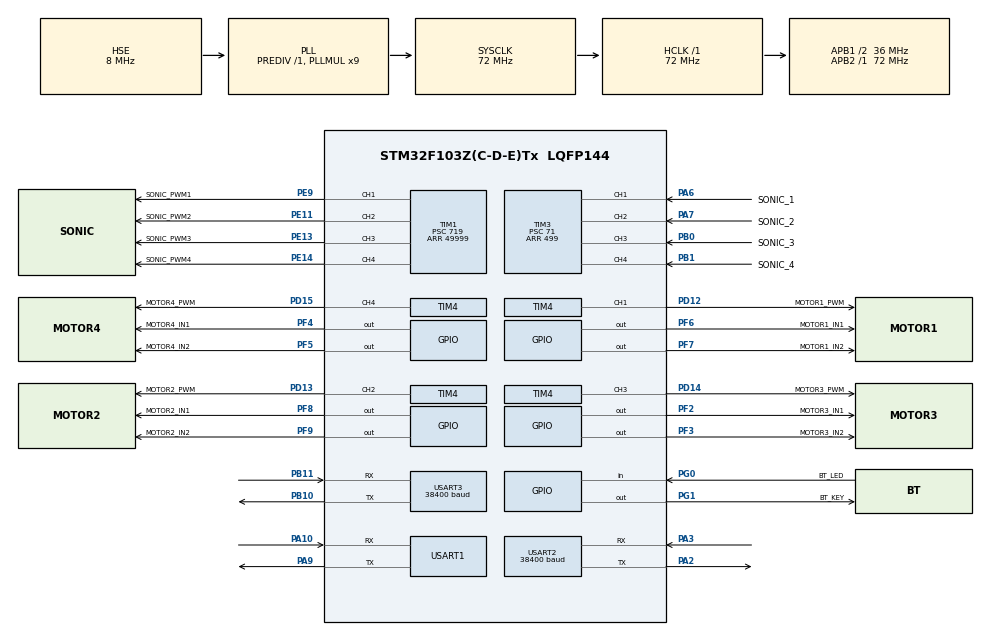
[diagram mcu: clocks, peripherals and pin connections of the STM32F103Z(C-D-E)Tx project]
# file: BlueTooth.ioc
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Mcu.Family=STM32F1
NVIC.USART3_IRQn=true\:2\:0\:true\:false\:true\:true\:true
PF5.GPIO_PuPd=GPIO_PULLUP
PD12.GPIO_Label=MOTOR1_PWM
PF6.GPIO_ModeDefaultOutputPP=GPIO_MODE_OUTPUT_PP
SH.S_TIM1_CH4.0=TIM1_CH4,PWM Generation4 CH4
PB10.Mode=Asynchronous
PE11.GPIO_Label=SONIC_PWM2
PF4.GPIO_PuPd=GPIO_PULLUP
PG0.Signal=GPIO_Input
PF9.GPIO_Speed=GPIO_SPEED_FREQ_MEDIUM
PA6.GPIO_Label=SONIC_1
PB0.GPIO_Label=SONIC_3
PB11.GPIO_PuPd=GPIO_NOPULL
PB11.Signal=USART3_RX
PF8.PinState=GPIO_PIN_SET
PF2.GPIO_Speed=GPIO_SPEED_FREQ_MEDIUM
PF6.GPIO_Label=MOTOR1_IN1
RCC.SYSCLKSource=RCC_SYSCLKSOURCE_PLLCLK
ProjectManager.StackSize=0x400
PD13.Signal=S_TIM4_CH2
TIM3.Channel-Input_Capture3_from_TI3=TIM_CHANNEL_3
PF3.GPIO_ModeDefaultOutputPP=GPIO_MODE_OUTPUT_PP
TIM1.Prescaler=719
USART3.BaudRate=38400
PF6.PinState=GPIO_PIN_SET
PF7.Signal=GPIO_Output
TIM1.Channel-PWM\ Generation4\ CH4=TIM_CHANNEL_4
PB1.GPIO_PuPd=GPIO_PULLDOWN
RCC.HCLKFreq_Value=72000000
RCC.APB2TimFreq_Value=72000000
TIM3.Period=499
PF2.GPIO_PuPd=GPIO_PULLUP
OSC_OUT.Mode=HSE-External-Oscillator
OSC_OUT.Signal=RCC_OSC_OUT
RCC.AHBFreq_Value=72000000
TIM3.Channel-Input_Capture1_from_TI1=TIM_CHANNEL_1
TIM4.Channel-PWM\ Generation3\ CH3=TIM_CHANNEL_3
RCC.PLLMUL=RCC_PLL_MUL9
PA6.GPIO_PuPd=GPIO_PULLDOWN
PE13.Signal=S_TIM1_CH3
PF7.GPIO_Speed=GPIO_SPEED_FREQ_MEDIUM
PF7.GPIO_Label=MOTOR1_IN2
PF8.GPIO_ModeDefaultOutputPP=GPIO_MODE_OUTPUT_PP
TIM1.Channel-PWM\ Generation1\ CH1=TIM_CHANNEL_1
PF8.GPIO_PuPd=GPIO_PULLUP
PE9.Signal=S_TIM1_CH1
PA14.Mode=Serial_Wire
TIM3.Prescaler=71
PB1.GPIO_Label=SONIC_4
SH.S_TIM4_CH2.0=TIM4_CH2,PWM Generation2 CH2
SH.S_TIM3_CH1.0=TIM3_CH1,Input_Capture1_from_TI1
TIM4.Period=499
PF3.Signal=GPIO_Output
PG0.GPIO_PuPd=GPIO_PULLUP
VP_TIM1_VS_ClockSourceINT.Mode=Internal
PF4.GPIO_ModeDefaultOutputPP=GPIO_MODE_OUTPUT_PP
PD13.GPIO_Label=MOTOR2_PWM
Mcu.Package=LQFP144
PB1.Signal=S_TIM3_CH4
PA6.Signal=S_TIM3_CH1
USART2.VirtualMode=VM_ASYNC
PD12.Signal=S_TIM4_CH1
PG1.GPIO_PuPd=GPIO_PULLUP
PF3.GPIO_Speed=GPIO_SPEED_FREQ_MEDIUM
PF5.GPIO_Label=MOTOR4_IN2
PF3.GPIO_PuPd=GPIO_PULLUP
PA10.Signal=USART1_RX
PF8.Signal=GPIO_Output
PG0.GPIO_Label=BT_LED
PF5.Signal=GPIO_Output
SH.S_TIM4_CH1.0=TIM4_CH1,PWM Generation1 CH1
PF5.GPIO_Speed=GPIO_SPEED_FREQ_MEDIUM
RCC.APB1TimFreq_Value=72000000
PG1.PinState=GPIO_PIN_SET
TIM1.Period=49999
PF9.GPIO_PuPd=GPIO_PULLUP
TIM4.Channel-PWM\ Generation4\ CH4=TIM_CHANNEL_4
PF3.GPIO_Label=MOTOR3_IN2
PD15.Signal=S_TIM4_CH4
VP_TIM3_VS_ClockSourceINT.Mode=Internal
PA3.Signal=USART2_RX
PF5.PinState=GPIO_PIN_SET
PF7.PinState=GPIO_PIN_SET
RCC.PLLSourceVirtual=RCC_PLLSOURCE_HSE
TIM4.Channel-PWM\ Generation1\ CH1=TIM_CHANNEL_1
PF2.GPIO_ModeDefaultOutputPP=GPIO_MODE_OUTPUT_PP
PD15.GPIO_Label=MOTOR4_PWM
TIM3.Channel-Input_Capture2_from_TI2=TIM_CHANNEL_2
PA10.Mode=Asynchronous
PG1.Signal=GPIO_Output
SH.S_TIM4_CH4.0=TIM4_CH4,PWM Generation4 CH4
PE14.GPIO_Label=SONIC_PWM4
RCC.APB1CLKDivider=RCC_HCLK_DIV2
PF2.PinState=GPIO_PIN_SET
SH.S_TIM3_CH3.0=TIM3_CH3,Input_Capture3_from_TI3
NVIC.USART2_IRQn=true\:2\:1\:true\:false\:true\:true\:true
USART2.BaudRate=38400
PF8.GPIO_Label=MOTOR2_IN1
PA3.Mode=Asynchronous
PA13.Signal=SYS_JTMS-SWDIO
PA9.Mode=Asynchronous
SH.S_TIM1_CH1.0=TIM1_CH1,PWM Generation1 CH1
PF6.Signal=GPIO_Output
PB11.Mode=Asynchronous
ProjectManager.TargetToolchain=SW4STM32
PF9.PinState=GPIO_PIN_SET
SH.S_TIM4_CH3.0=TIM4_CH3,PWM Generation3 CH3
PA9.Signal=USART1_TX
TIM1.Channel-PWM\ Generation2\ CH2=TIM_CHANNEL_2
PF2.Signal=GPIO_Output
OSC_IN.Signal=RCC_OSC_IN
PG1.GPIO_ModeDefaultOutputPP=GPIO_MODE_OUTPUT_PP
RCC.USBFreq_Value=72000000
PF9.GPIO_Label=MOTOR2_IN2
TIM4.Prescaler=71
PE11.Signal=S_TIM1_CH2
PE9.GPIO_Label=SONIC_PWM1
PA7.GPIO_PuPd=GPIO_PULLDOWN
PB10.Signal=USART3_TX
SH.S_TIM3_CH2.0=TIM3_CH2,Input_Capture2_from_TI2
board=custom
PF4.PinState=GPIO_PIN_SET
PG1.GPIO_Label=BT_KEY
NVIC.TIM3_IRQn=true\:0\:0\:false\:false\:true\:true\:true
TIM4.Channel-PWM\ Generation2\ CH2=TIM_CHANNEL_2
RCC.APB2Freq_Value=72000000
PE14.Signal=S_TIM1_CH4
PF4.GPIO_Speed=GPIO_SPEED_FREQ_MEDIUM
SH.S_TIM1_CH2.0=TIM1_CH2,PWM Generation2 CH2
PF4.GPIO_Label=MOTOR4_IN1
PD14.GPIO_Label=MOTOR3_PWM
TIM3.Channel-Input_Capture4_from_TI4=TIM_CHANNEL_4
PA13.Mode=Serial_Wire
Mcu.Name=STM32F103Z(C-D-E)Tx
PF3.PinState=GPIO_PIN_SET
PG1.GPIO_Speed=GPIO_SPEED_FREQ_HIGH
PA2.Signal=USART2_TX
PF7.GPIO_PuPd=GPIO_PULLUP
PD14.Signal=S_TIM4_CH3
RCC.SYSCLKFreq_VALUE=72000000
PA7.GPIO_Label=SONIC_2
PE13.GPIO_Label=SONIC_PWM3
PF5.GPIO_ModeDefaultOutputPP=GPIO_MODE_OUTPUT_PP
OSC_IN.Mode=HSE-External-Oscillator
USART3.VirtualMode=VM_ASYNC
USART1.VirtualMode=VM_ASYNC
PF7.GPIO_ModeDefaultOutputPP=GPIO_MODE_OUTPUT_PP
PA14.Signal=SYS_JTCK-SWCLK
ProjectManager.HeapSize=0x200
SH.S_TIM1_CH3.0=TIM1_CH3,PWM Generation3 CH3
PF9.Signal=GPIO_Output
VP_TIM4_VS_ClockSourceINT.Mode=Internal
PF9.GPIO_ModeDefaultOutputPP=GPIO_MODE_OUTPUT_PP
NVIC.PriorityGroup=NVIC_PRIORITYGROUP_2
PF8.GPIO_Speed=GPIO_SPEED_FREQ_MEDIUM
PF6.GPIO_PuPd=GPIO_PULLUP
PA2.Mode=Asynchronous
PF4.Signal=GPIO_Output
TIM1.Channel-PWM\ Generation3\ CH3=TIM_CHANNEL_3
RCC.APB1Freq_Value=36000000
PB0.Signal=S_TIM3_CH3
PB0.GPIO_PuPd=GPIO_PULLDOWN
SH.S_TIM3_CH4.0=TIM3_CH4,Input_Capture4_from_TI4
PF6.GPIO_Speed=GPIO_SPEED_FREQ_MEDIUM
PA7.Signal=S_TIM3_CH2
PF2.GPIO_Label=MOTOR3_IN1

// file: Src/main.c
/* USER CODE BEGIN Header */
/**
  ******************************************************************************
  * @file           : main.c
  * @brief          : Main program body
  ******************************************************************************
  * @attention
  *
  * <h2><center>&copy; Copyright (c) 2020 STMicroelectronics.
  * All rights reserved.</center></h2>
  *
  * This software component is licensed by ST under BSD 3-Clause license,
  * the "License"; You may not use this file except in compliance with the
  * License. You may obtain a copy of the License at:
  *                        opensource.org/licenses/BSD-3-Clause
  *
  ******************************************************************************
  */
/* USER CODE END Header */

#include "main.h"

/* USER CODE BEGIN Includes */
#include <stdarg.h>
#include <stdio.h>
#include <unistd.h>
/* USER CODE END Includes */

#pragma clang diagnostic push
#pragma ide diagnostic ignored "EndlessLoop"
/* USER CODE BEGIN PTD */
uint8_t USART3_RECEIVE_BUFFER[50];
uint8_t USART3_RECEIVE_BUFFER_SIZE = 45;

uint8_t USART2_RECEIVE_BUFFER[50];
uint8_t USART2_RECEIVE_BUFFER_SIZE = 1;

uint8_t capture_state_ch1 = 0;
uint16_t start_val_ch1 = 0;
uint16_t end_val_ch1 = 0;
uint16_t cnt_ch1 = 0;

uint8_t capture_state_ch2 = 0;
uint16_t start_val_ch2 = 0;
uint16_t end_val_ch2 = 0;
uint16_t cnt_ch2 = 0;

uint8_t capture_state_ch3 = 0;
uint16_t start_val_ch3 = 0;
uint16_t end_val_ch3 = 0;
uint16_t cnt_ch3 = 0;

uint8_t capture_state_ch4 = 0;
uint16_t start_val_ch4 = 0;
uint16_t end_val_ch4 = 0;
uint16_t cnt_ch4 = 0;

uint32_t distance_ch1 = 0;
uint32_t distance_ch2 = 0;
uint32_t distance_ch3 = 0;
uint32_t distance_ch4 = 0;

/* USER CODE END PTD */

TIM_HandleTypeDef htim1;
TIM_HandleTypeDef htim3;
TIM_HandleTypeDef htim4;

UART_HandleTypeDef huart1;
UART_HandleTypeDef huart2;
UART_HandleTypeDef huart3;

/* USER CODE BEGIN PV */
#define BUFSIZE 512
char myprintf_buf[BUFSIZE];
char ustart2_printf_buf[BUFSIZE];
char ustart3_printf_buf[BUFSIZE];

void Debug_printf(const char *fmt, ...) {
    va_list args;
    int n;
    va_start(args, fmt);
    n = vsnprintf(myprintf_buf, BUFSIZE, fmt, args);
    va_end(args);
    int i = 0;
    for (i = 0; i < n; i++) {
        HAL_UART_Transmit(&huart1, (uint8_t *) &myprintf_buf[i], 1, 0xFFFF);
    }
}

void u2_printf(const char *fmt, ...) {
    va_list args;
    int n;
    va_start(args, fmt);
    n = vsnprintf(ustart2_printf_buf, BUFSIZE, fmt, args);
    va_end(args);
    int i = 0;
    for (i = 0; i < n; i++) {
        HAL_UART_Transmit(&huart2, (uint8_t *) &ustart2_printf_buf[i], 1, 0xFFFF);
    }
}

void u3_printf(const char *fmt, ...) {
    va_list args;
    int n;
    va_start(args, fmt);
    n = vsnprintf(ustart3_printf_buf, BUFSIZE, fmt, args);
    va_end(args);
    int i = 0;
    for (i = 0; i < n; i++) {
        HAL_UART_Transmit(&huart3, (uint8_t *) &ustart3_printf_buf[i], 1, 0xFFFF);
    }
}
/* USER CODE END PV */

void SystemClock_Config(void);

static void MX_GPIO_Init(void);

static void MX_TIM3_Init(void);

static void MX_USART1_UART_Init(void);

static void MX_USART2_UART_Init(void);

static void MX_USART3_UART_Init(void);

static void MX_TIM1_Init(void);

static void MX_TIM4_Init(void);

/* USER CODE BEGIN 0 */

void initMotor();

void controlMotor();

void initMotor() {
    HAL_TIM_PWM_Start(&htim4, TIM_CHANNEL_1);
    __HAL_TIM_SET_COMPARE(&htim4, TIM_CHANNEL_1, 0);//speed = 0
    HAL_TIM_PWM_Start(&htim4, TIM_CHANNEL_2);
    __HAL_TIM_SET_COMPARE(&htim4, TIM_CHANNEL_2, 0);
    HAL_TIM_PWM_Start(&htim4, TIM_CHANNEL_3);
    __HAL_TIM_SET_COMPARE(&htim4, TIM_CHANNEL_3, 0);
    HAL_TIM_PWM_Start(&htim4, TIM_CHANNEL_4);
    __HAL_TIM_SET_COMPARE(&htim4, TIM_CHANNEL_4, 0);

    //set the motor init state
    HAL_GPIO_WritePin(GPIOF, MOTOR3_IN1_Pin | MOTOR4_IN1_Pin | MOTOR1_IN1_Pin | MOTOR2_IN1_Pin, GPIO_PIN_SET);
    HAL_GPIO_WritePin(GPIOF, MOTOR3_IN2_Pin | MOTOR4_IN2_Pin | MOTOR1_IN2_Pin | MOTOR2_IN2_Pin, GPIO_PIN_RESET);
}

void controlMotor() {
    uint32_t avg = (distance_ch2 + distance_ch1) / 2;

    if ((distance_ch3 + 5) < avg) {
        HAL_GPIO_WritePin(GPIOF, MOTOR3_IN2_Pin | MOTOR4_IN1_Pin | MOTOR1_IN2_Pin | MOTOR2_IN1_Pin, GPIO_PIN_SET);
        HAL_GPIO_WritePin(GPIOF, MOTOR3_IN1_Pin | MOTOR4_IN2_Pin | MOTOR1_IN1_Pin | MOTOR2_IN2_Pin, GPIO_PIN_RESET);
        __HAL_TIM_SET_COMPARE(&htim4, TIM_CHANNEL_1, 300);
        __HAL_TIM_SET_COMPARE(&htim4, TIM_CHANNEL_2, 300);
        __HAL_TIM_SET_COMPARE(&htim4, TIM_CHANNEL_3, 300);
        __HAL_TIM_SET_COMPARE(&htim4, TIM_CHANNEL_4, 300);
        //turn right
    } else if ((distance_ch4 + 5) < avg) {
        HAL_GPIO_WritePin(GPIOF, MOTOR3_IN1_Pin | MOTOR4_IN2_Pin | MOTOR1_IN1_Pin | MOTOR2_IN2_Pin, GPIO_PIN_SET);
        HAL_GPIO_WritePin(GPIOF, MOTOR3_IN2_Pin | MOTOR4_IN1_Pin | MOTOR1_IN2_Pin | MOTOR2_IN1_Pin, GPIO_PIN_RESET);
        __HAL_TIM_SET_COMPARE(&htim4, TIM_CHANNEL_1, 300);
        __HAL_TIM_SET_COMPARE(&htim4, TIM_CHANNEL_2, 300);
        __HAL_TIM_SET_COMPARE(&htim4, TIM_CHANNEL_3, 300);
        __HAL_TIM_SET_COMPARE(&htim4, TIM_CHANNEL_4, 300);
        //turn left
    } else {
        HAL_GPIO_WritePin(GPIOF, MOTOR3_IN1_Pin | MOTOR4_IN1_Pin | MOTOR1_IN1_Pin | MOTOR2_IN1_Pin, GPIO_PIN_SET);
        HAL_GPIO_WritePin(GPIOF, MOTOR3_IN2_Pin | MOTOR4_IN2_Pin | MOTOR1_IN2_Pin | MOTOR2_IN2_Pin, GPIO_PIN_RESET);
        if (avg > 250) {
            __HAL_TIM_SET_COMPARE(&htim4, TIM_CHANNEL_1, 0);
            __HAL_TIM_SET_COMPARE(&htim4, TIM_CHANNEL_2, 0);
            __HAL_TIM_SET_COMPARE(&htim4, TIM_CHANNEL_3, 0);
            __HAL_TIM_SET_COMPARE(&htim4, TIM_CHANNEL_4, 0);
        } else if (avg < 20) {
            __HAL_TIM_SET_COMPARE(&htim4, TIM_CHANNEL_1, 0);
            __HAL_TIM_SET_COMPARE(&htim4, TIM_CHANNEL_2, 0);
            __HAL_TIM_SET_COMPARE(&htim4, TIM_CHANNEL_3, 0);
            __HAL_TIM_SET_COMPARE(&htim4, TIM_CHANNEL_4, 0);
        } else if (avg >= 20 && avg <= 80) {
            uint tmp = (25 * avg / 3 - 500 / 3);
            __HAL_TIM_SET_COMPARE(&htim4, TIM_CHANNEL_1, tmp);
            __HAL_TIM_SET_COMPARE(&htim4, TIM_CHANNEL_2, tmp);
            __HAL_TIM_SET_COMPARE(&htim4, TIM_CHANNEL_3, tmp);
            __HAL_TIM_SET_COMPARE(&htim4, TIM_CHANNEL_4, tmp);
        } else {
            __HAL_TIM_SET_COMPARE(&htim4, TIM_CHANNEL_1, 500);
            __HAL_TIM_SET_COMPARE(&htim4, TIM_CHANNEL_2, 500);
            __HAL_TIM_SET_COMPARE(&htim4, TIM_CHANNEL_3, 500);
            __HAL_TIM_SET_COMPARE(&htim4, TIM_CHANNEL_4, 500);
        }
    }
}

/* USER CODE END 0 */

int main(void) {

    /* MCU Configuration--------------------------------------------------------*/

    /* Reset of all peripherals, Initializes the Flash interface and the Systick. */
    HAL_Init();

    /* Configure the system clock */
    SystemClock_Config();

    /* Initialize all configured peripherals */
    MX_GPIO_Init();
    MX_TIM3_Init();
    MX_USART1_UART_Init();
    MX_USART2_UART_Init();
    MX_USART3_UART_Init();
    MX_TIM1_Init();
    MX_TIM4_Init();
    /* USER CODE BEGIN 2 */
    HAL_UART_Receive_IT(&huart2, USART2_RECEIVE_BUFFER, USART2_RECEIVE_BUFFER_SIZE);

    u2_printf("AT+ROLE=0\r\n");
    HAL_Delay(100);
    u2_printf("AT+UART=38400,0,0\r\n");
    HAL_Delay(100);
    u2_printf("AT+PSWD=1234\r\n");
    HAL_Delay(100);
    u2_printf("AT+NAME=SMART_CAR\r\n");
    HAL_Delay(100);
    u2_printf("AT+CMODE=1\r\n");
    HAL_Delay(100);

    u2_printf("AT+ROLE?\r\n");
    HAL_Delay(100);
    u2_printf("AT+UART?\r\n");
    HAL_Delay(100);
    u2_printf("AT+PSWD?\r\n");
    HAL_Delay(100);
    u2_printf("AT+NAME?\r\n");
    HAL_Delay(100);
    u2_printf("AT+CMODE?\r\n");
    HAL_Delay(100);

    HAL_GPIO_WritePin(BT_KEY_GPIO_Port, BT_KEY_Pin, GPIO_PIN_RESET);

    u2_printf("AT+RESET\r\n");
//    HAL_Delay(100);

    HAL_Delay(1000);//wait for the bluetooth device to initialize

    while (1) {
        GPIO_PinState re = HAL_GPIO_ReadPin(BT_LED_GPIO_Port, BT_LED_Pin);
        if (re == GPIO_PIN_RESET) {
            Debug_printf("Not connect yet!\r\n");
            HAL_Delay(1000);
        } else {
            Debug_printf("connect successful\r\n");
            break;
        }
    }

    HAL_UART_Receive_IT(&huart3, USART3_RECEIVE_BUFFER, USART3_RECEIVE_BUFFER_SIZE);

    HAL_TIM_PWM_Start(&htim1, TIM_CHANNEL_1);
    __HAL_TIM_SET_COMPARE(&htim1, TIM_CHANNEL_1, 46000);
    HAL_TIM_Base_Start_IT(&htim3);

    HAL_TIM_PWM_Start(&htim1, TIM_CHANNEL_2);
    __HAL_TIM_SET_COMPARE(&htim1, TIM_CHANNEL_2, 46000);

    HAL_TIM_PWM_Start(&htim1, TIM_CHANNEL_3);
    __HAL_TIM_SET_COMPARE(&htim1, TIM_CHANNEL_3, 46000);

    HAL_TIM_PWM_Start(&htim1, TIM_CHANNEL_4);
    __HAL_TIM_SET_COMPARE(&htim1, TIM_CHANNEL_4, 46000);

    initMotor();

    /* USER CODE END 2 */

    /* Infinite loop */
    /* USER CODE BEGIN WHILE */
#pragma clang diagnostic push
#pragma clang diagnostic ignored "-Wmissing-noreturn"
    while (1) {
//        HAL_Delay(1000);
        if (capture_state_ch1 == 0) {
            capture_state_ch1++; // 1-> start capture
            __HAL_TIM_SET_CAPTUREPOLARITY(&htim3, TIM_CHANNEL_1, TIM_INPUTCHANNELPOLARITY_RISING);
            HAL_TIM_IC_Start_IT(&htim3, TIM_CHANNEL_1); // 上升沿capture__
        } else if (capture_state_ch1 == 3) {
            //计算时间
            uint32_t tmp;
            if (cnt_ch1 == 0) {
                tmp = end_val_ch1 - start_val_ch1;
            } else {
                tmp = 500 - start_val_ch1 + end_val_ch1 + 500 * (cnt_ch1 - 1);
            }
            distance_ch1 = tmp * 17 / 500;
            Debug_printf("CHANNEL1=%d\r\n", distance_ch1);
            capture_state_ch1 = 0;
            start_val_ch1 = 0;
            end_val_ch1 = 0;
            cnt_ch1 = 0;
        }

        if (capture_state_ch2 == 0) {
            capture_state_ch2++; // 1-> start capture
            __HAL_TIM_SET_CAPTUREPOLARITY(&htim3, TIM_CHANNEL_2, TIM_INPUTCHANNELPOLARITY_RISING);
            HAL_TIM_IC_Start_IT(&htim3, TIM_CHANNEL_2); // 上升沿capture__
        } else if (capture_state_ch2 == 3) {
            //计算时间
            uint32_t tmp;
            if (cnt_ch2 == 0) {
                tmp = end_val_ch2 - start_val_ch2;
            } else {
                tmp = 500 - start_val_ch2 + end_val_ch2 + 500 * (cnt_ch2 - 1);
            }
            distance_ch2 = tmp * 17 / 500;
            Debug_printf("CHANNEL2=%d\r\n", distance_ch2);
            capture_state_ch2 = 0;
            start_val_ch2 = 0;
            end_val_ch2 = 0;
            cnt_ch2 = 0;
        }

        if (capture_state_ch3 == 0) {
            capture_state_ch3++; // 1-> start capture
            __HAL_TIM_SET_CAPTUREPOLARITY(&htim3, TIM_CHANNEL_3, TIM_INPUTCHANNELPOLARITY_RISING);
            HAL_TIM_IC_Start_IT(&htim3, TIM_CHANNEL_3); // 上升沿capture__
        } else if (capture_state_ch3 == 3) {
            //计算时间
            uint32_t tmp;
            if (cnt_ch3 == 0) {
                tmp = end_val_ch3 - start_val_ch3;
            } else {
                tmp = 500 - start_val_ch3 + end_val_ch3 + 500 * (cnt_ch3 - 1);
            }
            distance_ch3 = tmp * 17 / 500;
            Debug_printf("CHANNEL3=%d\r\n", distance_ch3);
            capture_state_ch3 = 0;
            start_val_ch3 = 0;
            end_val_ch3 = 0;
            cnt_ch3 = 0;
        }

        if (capture_state_ch4 == 0) {
            capture_state_ch4++; // 1-> start capture
            __HAL_TIM_SET_CAPTUREPOLARITY(&htim3, TIM_CHANNEL_4, TIM_INPUTCHANNELPOLARITY_RISING);
            HAL_TIM_IC_Start_IT(&htim3, TIM_CHANNEL_4); // 上升沿capture__
        } else if (capture_state_ch4 == 3) {
            //计算时间
            uint32_t tmp;
            if (cnt_ch4 == 0) {
                tmp = end_val_ch4 - start_val_ch4;
            } else {
                tmp = 500 - start_val_ch4 + end_val_ch4 + 500 * (cnt_ch4 - 1);
            }
            distance_ch4 = tmp * 17 / 500;
            Debug_printf("CHANNEL4=%d\r\n", distance_ch4);
            capture_state_ch4 = 0;
            start_val_ch4 = 0;
            end_val_ch4 = 0;
            cnt_ch4 = 0;
        }

        controlMotor();

        /* USER CODE END WHILE */

        /* USER CODE BEGIN 3 */
    }
#pragma clang diagnostic pop
    /* USER CODE END 3 */
}

void SystemClock_Config(void) {
    RCC_OscInitTypeDef RCC_OscInitStruct = {0};
    RCC_ClkInitTypeDef RCC_ClkInitStruct = {0};

    /** Initializes the CPU, AHB and APB busses clocks
    */
    RCC_OscInitStruct.OscillatorType = RCC_OSCILLATORTYPE_HSE;
    RCC_OscInitStruct.HSEState = RCC_HSE_ON;
    RCC_OscInitStruct.HSEPredivValue = RCC_HSE_PREDIV_DIV1;
    RCC_OscInitStruct.HSIState = RCC_HSI_ON;
    RCC_OscInitStruct.PLL.PLLState = RCC_PLL_ON;
    RCC_OscInitStruct.PLL.PLLSource = RCC_PLLSOURCE_HSE;
    RCC_OscInitStruct.PLL.PLLMUL = RCC_PLL_MUL9;
    if (HAL_RCC_OscConfig(&RCC_OscInitStruct) != HAL_OK) {
        Error_Handler();
    }
    /** Initializes the CPU, AHB and APB busses clocks
    */
    RCC_ClkInitStruct.ClockType = RCC_CLOCKTYPE_HCLK | RCC_CLOCKTYPE_SYSCLK
                                  | RCC_CLOCKTYPE_PCLK1 | RCC_CLOCKTYPE_PCLK2;
    RCC_ClkInitStruct.SYSCLKSource = RCC_SYSCLKSOURCE_PLLCLK;
    RCC_ClkInitStruct.AHBCLKDivider = RCC_SYSCLK_DIV1;
    RCC_ClkInitStruct.APB1CLKDivider = RCC_HCLK_DIV2;
    RCC_ClkInitStruct.APB2CLKDivider = RCC_HCLK_DIV1;

    if (HAL_RCC_ClockConfig(&RCC_ClkInitStruct, FLASH_LATENCY_2) != HAL_OK) {
        Error_Handler();
    }
}

static void MX_TIM1_Init(void) {

    TIM_ClockConfigTypeDef sClockSourceConfig = {0};
    TIM_MasterConfigTypeDef sMasterConfig = {0};
    TIM_OC_InitTypeDef sConfigOC = {0};
    TIM_BreakDeadTimeConfigTypeDef sBreakDeadTimeConfig = {0};

    htim1.Instance = TIM1;
    htim1.Init.Prescaler = 239;
    htim1.Init.CounterMode = TIM_COUNTERMODE_UP;
    htim1.Init.Period = 49999;
    htim1.Init.ClockDivision = TIM_CLOCKDIVISION_DIV1;
    htim1.Init.RepetitionCounter = 0;
    htim1.Init.AutoReloadPreload = TIM_AUTORELOAD_PRELOAD_DISABLE;
    if (HAL_TIM_Base_Init(&htim1) != HAL_OK) {
        Error_Handler();
    }
    sClockSourceConfig.ClockSource = TIM_CLOCKSOURCE_INTERNAL;
    if (HAL_TIM_ConfigClockSource(&htim1, &sClockSourceConfig) != HAL_OK) {
        Error_Handler();
    }
    if (HAL_TIM_PWM_Init(&htim1) != HAL_OK) {
        Error_Handler();
    }
    sMasterConfig.MasterOutputTrigger = TIM_TRGO_RESET;
    sMasterConfig.MasterSlaveMode = TIM_MASTERSLAVEMODE_DISABLE;
    if (HAL_TIMEx_MasterConfigSynchronization(&htim1, &sMasterConfig) != HAL_OK) {
        Error_Handler();
    }
    sConfigOC.OCMode = TIM_OCMODE_PWM1;
    sConfigOC.Pulse = 0;
    sConfigOC.OCPolarity = TIM_OCPOLARITY_HIGH;
    sConfigOC.OCNPolarity = TIM_OCNPOLARITY_HIGH;
    sConfigOC.OCFastMode = TIM_OCFAST_DISABLE;
    sConfigOC.OCIdleState = TIM_OCIDLESTATE_RESET;
    sConfigOC.OCNIdleState = TIM_OCNIDLESTATE_RESET;
    if (HAL_TIM_PWM_ConfigChannel(&htim1, &sConfigOC, TIM_CHANNEL_1) != HAL_OK) {
        Error_Handler();
    }
    if (HAL_TIM_PWM_ConfigChannel(&htim1, &sConfigOC, TIM_CHANNEL_2) != HAL_OK) {
        Error_Handler();
    }
    if (HAL_TIM_PWM_ConfigChannel(&htim1, &sConfigOC, TIM_CHANNEL_3) != HAL_OK) {
        Error_Handler();
    }
    if (HAL_TIM_PWM_ConfigChannel(&htim1, &sConfigOC, TIM_CHANNEL_4) != HAL_OK) {
        Error_Handler();
    }
    sBreakDeadTimeConfig.OffStateRunMode = TIM_OSSR_DISABLE;
    sBreakDeadTimeConfig.OffStateIDLEMode = TIM_OSSI_DISABLE;
    sBreakDeadTimeConfig.LockLevel = TIM_LOCKLEVEL_OFF;
    sBreakDeadTimeConfig.DeadTime = 0;
    sBreakDeadTimeConfig.BreakState = TIM_BREAK_DISABLE;
    sBreakDeadTimeConfig.BreakPolarity = TIM_BREAKPOLARITY_HIGH;
    sBreakDeadTimeConfig.AutomaticOutput = TIM_AUTOMATICOUTPUT_DISABLE;
    if (HAL_TIMEx_ConfigBreakDeadTime(&htim1, &sBreakDeadTimeConfig) != HAL_OK) {
        Error_Handler();
    }
    HAL_TIM_MspPostInit(&htim1);

}

static void MX_TIM3_Init(void) {

    TIM_ClockConfigTypeDef sClockSourceConfig = {0};
    TIM_MasterConfigTypeDef sMasterConfig = {0};
    TIM_IC_InitTypeDef sConfigIC = {0};

    htim3.Instance = TIM3;
    htim3.Init.Prescaler = 71;
    htim3.Init.CounterMode = TIM_COUNTERMODE_UP;
    htim3.Init.Period = 499;
    htim3.Init.ClockDivision = TIM_CLOCKDIVISION_DIV1;
    htim3.Init.AutoReloadPreload = TIM_AUTORELOAD_PRELOAD_DISABLE;
    if (HAL_TIM_Base_Init(&htim3) != HAL_OK) {
        Error_Handler();
    }
    sClockSourceConfig.ClockSource = TIM_CLOCKSOURCE_INTERNAL;
    if (HAL_TIM_ConfigClockSource(&htim3, &sClockSourceConfig) != HAL_OK) {
        Error_Handler();
    }
    if (HAL_TIM_IC_Init(&htim3) != HAL_OK) {
        Error_Handler();
    }
    sMasterConfig.MasterOutputTrigger = TIM_TRGO_RESET;
    sMasterConfig.MasterSlaveMode = TIM_MASTERSLAVEMODE_DISABLE;
    if (HAL_TIMEx_MasterConfigSynchronization(&htim3, &sMasterConfig) != HAL_OK) {
        Error_Handler();
    }
    sConfigIC.ICPolarity = TIM_INPUTCHANNELPOLARITY_RISING;
    sConfigIC.ICSelection = TIM_ICSELECTION_DIRECTTI;
    sConfigIC.ICPrescaler = TIM_ICPSC_DIV1;
    sConfigIC.ICFilter = 0;
    if (HAL_TIM_IC_ConfigChannel(&htim3, &sConfigIC, TIM_CHANNEL_1) != HAL_OK) {
        Error_Handler();
    }
    if (HAL_TIM_IC_ConfigChannel(&htim3, &sConfigIC, TIM_CHANNEL_2) != HAL_OK) {
        Error_Handler();
    }
    if (HAL_TIM_IC_ConfigChannel(&htim3, &sConfigIC, TIM_CHANNEL_3) != HAL_OK) {
        Error_Handler();
    }
    if (HAL_TIM_IC_ConfigChannel(&htim3, &sConfigIC, TIM_CHANNEL_4) != HAL_OK) {
        Error_Handler();
    }

}

static void MX_TIM4_Init(void) {

    TIM_ClockConfigTypeDef sClockSourceConfig = {0};
    TIM_MasterConfigTypeDef sMasterConfig = {0};
    TIM_OC_InitTypeDef sConfigOC = {0};

    htim4.Instance = TIM4;
    htim4.Init.Prescaler = 71;
    htim4.Init.CounterMode = TIM_COUNTERMODE_UP;
    htim4.Init.Period = 499;
    htim4.Init.ClockDivision = TIM_CLOCKDIVISION_DIV1;
    htim4.Init.AutoReloadPreload = TIM_AUTORELOAD_PRELOAD_DISABLE;
    if (HAL_TIM_Base_Init(&htim4) != HAL_OK) {
        Error_Handler();
    }
    sClockSourceConfig.ClockSource = TIM_CLOCKSOURCE_INTERNAL;
    if (HAL_TIM_ConfigClockSource(&htim4, &sClockSourceConfig) != HAL_OK) {
        Error_Handler();
    }
    if (HAL_TIM_PWM_Init(&htim4) != HAL_OK) {
        Error_Handler();
    }
    sMasterConfig.MasterOutputTrigger = TIM_TRGO_RESET;
    sMasterConfig.MasterSlaveMode = TIM_MASTERSLAVEMODE_DISABLE;
    if (HAL_TIMEx_MasterConfigSynchronization(&htim4, &sMasterConfig) != HAL_OK) {
        Error_Handler();
    }
    sConfigOC.OCMode = TIM_OCMODE_PWM1;
    sConfigOC.Pulse = 0;
    sConfigOC.OCPolarity = TIM_OCPOLARITY_HIGH;
    sConfigOC.OCFastMode = TIM_OCFAST_DISABLE;
    if (HAL_TIM_PWM_ConfigChannel(&htim4, &sConfigOC, TIM_CHANNEL_1) != HAL_OK) {
        Error_Handler();
    }
    if (HAL_TIM_PWM_ConfigChannel(&htim4, &sConfigOC, TIM_CHANNEL_2) != HAL_OK) {
        Error_Handler();
    }
    if (HAL_TIM_PWM_ConfigChannel(&htim4, &sConfigOC, TIM_CHANNEL_3) != HAL_OK) {
        Error_Handler();
    }
    if (HAL_TIM_PWM_ConfigChannel(&htim4, &sConfigOC, TIM_CHANNEL_4) != HAL_OK) {
        Error_Handler();
    }
    HAL_TIM_MspPostInit(&htim4);

}

static void MX_USART1_UART_Init(void) {

    huart1.Instance = USART1;
    huart1.Init.BaudRate = 115200;
    huart1.Init.WordLength = UART_WORDLENGTH_8B;
    huart1.Init.StopBits = UART_STOPBITS_1;
    huart1.Init.Parity = UART_PARITY_NONE;
    huart1.Init.Mode = UART_MODE_TX_RX;
    huart1.Init.HwFlowCtl = UART_HWCONTROL_NONE;
    huart1.Init.OverSampling = UART_OVERSAMPLING_16;
    if (HAL_UART_Init(&huart1) != HAL_OK) {
        Error_Handler();
    }

}

static void MX_USART2_UART_Init(void) {

    huart2.Instance = USART2;
    huart2.Init.BaudRate = 38400;
    huart2.Init.WordLength = UART_WORDLENGTH_8B;
    huart2.Init.StopBits = UART_STOPBITS_1;
    huart2.Init.Parity = UART_PARITY_NONE;
    huart2.Init.Mode = UART_MODE_TX_RX;
    huart2.Init.HwFlowCtl = UART_HWCONTROL_NONE;
    huart2.Init.OverSampling = UART_OVERSAMPLING_16;
    if (HAL_UART_Init(&huart2) != HAL_OK) {
        Error_Handler();
    }

}

static void MX_USART3_UART_Init(void) {

    huart3.Instance = USART3;
    huart3.Init.BaudRate = 38400;
    huart3.Init.WordLength = UART_WORDLENGTH_8B;
    huart3.Init.StopBits = UART_STOPBITS_1;
    huart3.Init.Parity = UART_PARITY_NONE;
    huart3.Init.Mode = UART_MODE_TX_RX;
    huart3.Init.HwFlowCtl = UART_HWCONTROL_NONE;
    huart3.Init.OverSampling = UART_OVERSAMPLING_16;
    if (HAL_UART_Init(&huart3) != HAL_OK) {
        Error_Handler();
    }

}

static void MX_GPIO_Init(void) {
    GPIO_InitTypeDef GPIO_InitStruct = {0};

    /* GPIO Ports Clock Enable */
    __HAL_RCC_GPIOF_CLK_ENABLE();
    __HAL_RCC_GPIOA_CLK_ENABLE();
    __HAL_RCC_GPIOB_CLK_ENABLE();
    __HAL_RCC_GPIOG_CLK_ENABLE();
    __HAL_RCC_GPIOE_CLK_ENABLE();
    __HAL_RCC_GPIOD_CLK_ENABLE();

    /*Configure GPIO pin Output Level */
    HAL_GPIO_WritePin(GPIOF, MOTOR3_IN1_Pin | MOTOR3_IN2_Pin | MOTOR4_IN1_Pin | MOTOR4_IN2_Pin
                             | MOTOR1_IN1_Pin | MOTOR1_IN2_Pin | MOTOR2_IN1_Pin | MOTOR2_IN2_Pin, GPIO_PIN_SET);

    /*Configure GPIO pin Output Level */
    HAL_GPIO_WritePin(BT_KEY_GPIO_Port, BT_KEY_Pin, GPIO_PIN_SET);

    /*Configure GPIO pins : MOTOR3_IN1_Pin MOTOR3_IN2_Pin MOTOR4_IN1_Pin MOTOR4_IN2_Pin
                             MOTOR1_IN1_Pin MOTOR1_IN2_Pin MOTOR2_IN1_Pin MOTOR2_IN2_Pin */
    GPIO_InitStruct.Pin = MOTOR3_IN1_Pin | MOTOR3_IN2_Pin | MOTOR4_IN1_Pin | MOTOR4_IN2_Pin
                          | MOTOR1_IN1_Pin | MOTOR1_IN2_Pin | MOTOR2_IN1_Pin | MOTOR2_IN2_Pin;
    GPIO_InitStruct.Mode = GPIO_MODE_OUTPUT_PP;
    GPIO_InitStruct.Pull = GPIO_PULLUP;
    GPIO_InitStruct.Speed = GPIO_SPEED_FREQ_MEDIUM;
    HAL_GPIO_Init(GPIOF, &GPIO_InitStruct);

    /*Configure GPIO pin : BT_LED_Pin */
    GPIO_InitStruct.Pin = BT_LED_Pin;
    GPIO_InitStruct.Mode = GPIO_MODE_INPUT;
    GPIO_InitStruct.Pull = GPIO_PULLUP;
    HAL_GPIO_Init(BT_LED_GPIO_Port, &GPIO_InitStruct);

    /*Configure GPIO pin : BT_KEY_Pin */
    GPIO_InitStruct.Pin = BT_KEY_Pin;
    GPIO_InitStruct.Mode = GPIO_MODE_OUTPUT_PP;
    GPIO_InitStruct.Pull = GPIO_PULLUP;
    GPIO_InitStruct.Speed = GPIO_SPEED_FREQ_HIGH;
    HAL_GPIO_Init(BT_KEY_GPIO_Port, &GPIO_InitStruct);

}

/* USER CODE BEGIN 4 */
void HAL_UART_RxCpltCallback(UART_HandleTypeDef *huart) {
    if (&huart2 == huart) {
        HAL_UART_Transmit(&huart1, USART2_RECEIVE_BUFFER, USART2_RECEIVE_BUFFER_SIZE, 1000);
    } else if (&huart3 == huart) {
        HAL_UART_Transmit(&huart2, USART3_RECEIVE_BUFFER, USART3_RECEIVE_BUFFER_SIZE, 1000);
//        HAL_UART_Transmit(&huart1, USART3_RECEIVE_BUFFER, USART3_RECEIVE_BUFFER_SIZE, 1000);
    }
}

//输入捕获的callback
void HAL_TIM_IC_CaptureCallback(TIM_HandleTypeDef *htim) {
    if (htim->Instance == TIM3) {
        if (htim->Channel == HAL_TIM_ACTIVE_CHANNEL_1) {
            if (capture_state_ch1 == 1) {
                start_val_ch1 = HAL_TIM_ReadCapturedValue(&htim3, TIM_CHANNEL_1);
                __HAL_TIM_SET_CAPTUREPOLARITY(&htim3, TIM_CHANNEL_1, TIM_INPUTCHANNELPOLARITY_FALLING);
                capture_state_ch1++;//2->in capture mode
            } else if (capture_state_ch1 == 2) {
                end_val_ch1 = HAL_TIM_ReadCapturedValue(&htim3, TIM_CHANNEL_1);
                HAL_TIM_IC_Stop_IT(&htim3, TIM_CHANNEL_1);
                capture_state_ch1++;// 3->finished
            }
        }
        if (htim->Channel == HAL_TIM_ACTIVE_CHANNEL_2) {
            if (capture_state_ch2 == 1) {
                start_val_ch2 = HAL_TIM_ReadCapturedValue(&htim3, TIM_CHANNEL_2);
                __HAL_TIM_SET_CAPTUREPOLARITY(&htim3, TIM_CHANNEL_2, TIM_INPUTCHANNELPOLARITY_FALLING);
                capture_state_ch2++;//2->in capture mode
            } else if (capture_state_ch2 == 2) {
                end_val_ch2 = HAL_TIM_ReadCapturedValue(&htim3, TIM_CHANNEL_2);
                HAL_TIM_IC_Stop_IT(&htim3, TIM_CHANNEL_2);
                capture_state_ch2++;// 3->finished
            }
        }
        if (htim->Channel == HAL_TIM_ACTIVE_CHANNEL_3) {
            if (capture_state_ch3 == 1) {
                start_val_ch3 = HAL_TIM_ReadCapturedValue(&htim3, TIM_CHANNEL_3);
                __HAL_TIM_SET_CAPTUREPOLARITY(&htim3, TIM_CHANNEL_3, TIM_INPUTCHANNELPOLARITY_FALLING);
                capture_state_ch3++;//3->in capture mode
            } else if (capture_state_ch3 == 2) {
                end_val_ch3 = HAL_TIM_ReadCapturedValue(&htim3, TIM_CHANNEL_3);
                HAL_TIM_IC_Stop_IT(&htim3, TIM_CHANNEL_3);
                capture_state_ch3++;// 3->finished
            }
        }
        if (htim->Channel == HAL_TIM_ACTIVE_CHANNEL_4) {
            if (capture_state_ch4 == 1) {
                start_val_ch4 = HAL_TIM_ReadCapturedValue(&htim3, TIM_CHANNEL_4);
                __HAL_TIM_SET_CAPTUREPOLARITY(&htim3, TIM_CHANNEL_4, TIM_INPUTCHANNELPOLARITY_FALLING);
                capture_state_ch4++;//2->in capture mode
            } else if (capture_state_ch4 == 2) {
                end_val_ch4 = HAL_TIM_ReadCapturedValue(&htim3, TIM_CHANNEL_4);
                HAL_TIM_IC_Stop_IT(&htim3, TIM_CHANNEL_4);
                capture_state_ch4++;// 3->finished
            }
        }
    }
}

//溢出的callback
void HAL_TIM_PeriodElapsedCallback(TIM_HandleTypeDef *htim) {
    if (htim->Instance == TIM3) {
        if (capture_state_ch1 == 2) {
            cnt_ch1++;
        }
        if (capture_state_ch2 == 2) {
            cnt_ch2++;
        }
        if (capture_state_ch3 == 2) {
            cnt_ch3++;
        }
        if (capture_state_ch4 == 2) {
            cnt_ch4++;
        }
    }
}

/* USER CODE END 4 */

void Error_Handler(void) {
}

/************************ (C) COPYRIGHT STMicroelectronics *****END OF FILE****/

#pragma clang diagnostic pop
